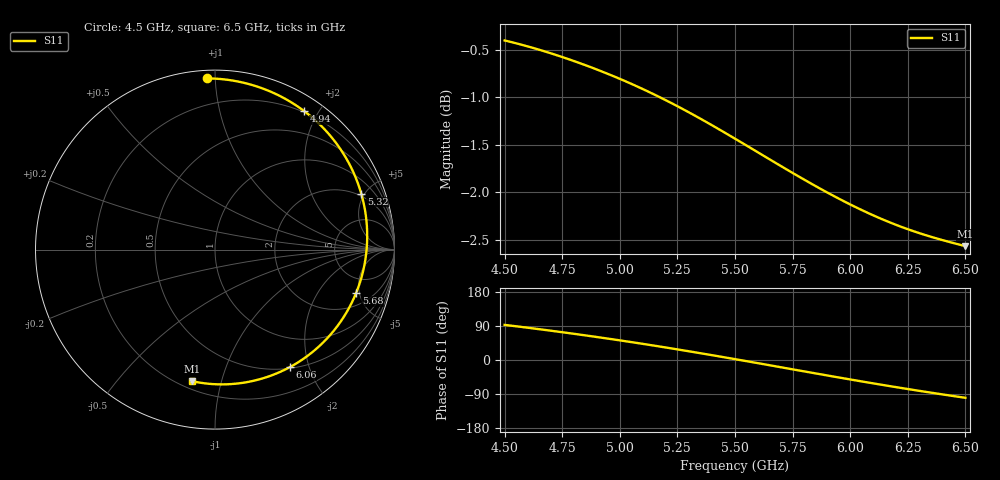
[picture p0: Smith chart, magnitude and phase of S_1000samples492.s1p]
! TOUCHSTONE file generated by CST MICROWAVE STUDIO
! Date and time: Fri Oct 28 08:36:53 2022
! Project name: L.cst
! Parameters = {Di=1.27; Epsilon_r=1.56; InnerDiameter=1.27; Length=2; Lf=10; Lg=60; OuterConductorThickness=0.2921; OuterDiameter=3.6; Wf=3; Wp=41.2; de=1.5; df=6.8; g=0.8; gx=3.05001; gy=3.69222; h=2.34; hf=1.524; px=10.6355; py=8.60958; w=9.7; wx=7.58551; wy=4.91736}
! Header version: 2018
! Port assignment regex: !\s*Touchstone port\s*([0-9]+)\s*=\s*(CST MWS port|CST DS port)\s*([0-9]+|Zmin|Zmax)\s*\(\"(.*)\"\)(\s*mode\s*([0-9]+))?.*
! Touchstone port assignment:
! Touchstone port 1 = CST MWS port 1 ("")
# GHz S DB R 50
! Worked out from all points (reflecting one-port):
!   101 points, 4.5 GHz to 6.5 GHz, reference 50 ohm
!   lowest |S11| = -2.6 dB at 6.5 GHz (marker M1), VSWR 6.81, Z = 12.4 - j40.6 ohm
!   phase of S11 starts at 93 deg and turns -192 deg over the sweep
!   S11 on the Smith chart (normalised r, x): 4.5 GHz: 0.04, +0.95; 4.94 GHz: 0.19, +1.82; 5.32 GHz: 1.81, +4.74; 5.68 GHz: 3.12, -4.65; 6.06 GHz: 0.52, -1.70; 6.5 GHz: 0.25, -0.81
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4.5  -0.40 92.7
4.58  -0.45 86.7
4.64  -0.49 82.1
4.7  -0.54 77.4
4.76  -0.58 72.5
4.86  -0.67 64.1
4.94  -0.74 57.2
5  -0.81 51.8
5.06  -0.87 46.3
5.14  -0.96 38.8
5.2  -1.03 32.9
5.26  -1.11 27.0
5.32  -1.19 21.0
5.42  -1.32 10.7
5.5  -1.44 2.2
5.58  -1.55 -6.3
5.68  -1.70 -17.1
5.76  -1.81 -25.7
5.82  -1.89 -32.2
5.88  -1.98 -38.6
5.94  -2.05 -45.0
6  -2.13 -51.3
6.06  -2.20 -57.6
6.16  -2.31 -67.7
6.26  -2.40 -77.6
6.32  -2.45 -83.3
6.38  -2.49 -88.9
6.5  -2.57 -99.8
